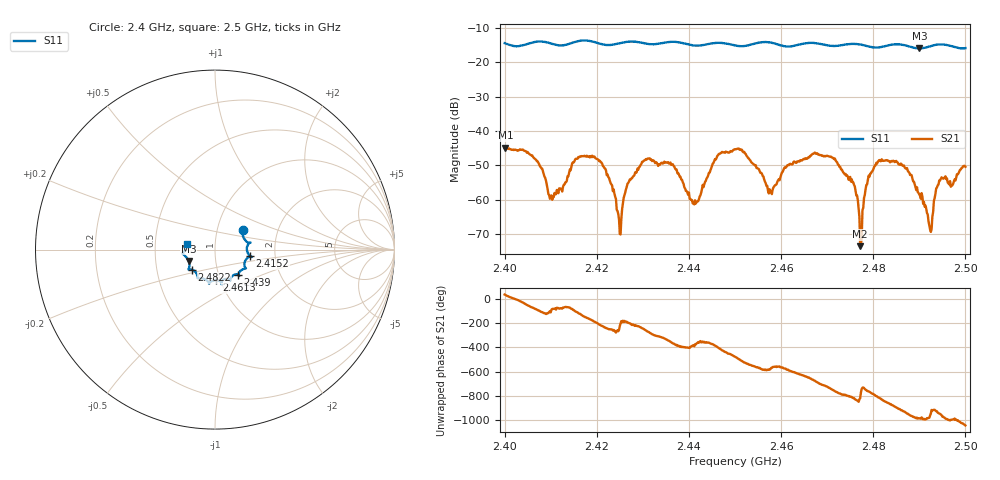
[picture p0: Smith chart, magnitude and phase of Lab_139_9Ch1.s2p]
# Hz S RI R 50
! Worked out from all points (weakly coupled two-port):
!   601 points, 2.4 GHz to 2.5 GHz, reference 50 ohm
!   highest |S21| = -44.81 dB at 2.4002 GHz (marker M1); lowest = -73.5 dB at 2.4772 GHz (marker M2)
!   lowest |S11| = -15.9 dB at 2.49 GHz (marker M3), VSWR 1.38, Z = 36.9 - j4.82 ohm
!   |S11| at or under -10 dB: start of sweep to end of sweep
!   S12 and S22 are empty: the file has one direction only
!   S11 on the Smith chart (normalised r, x): 2.4 GHz: 1.33, +0.31; 2.4152 GHz: 1.48, -0.11; 2.439 GHz: 1.24, -0.36; 2.4613 GHz: 0.96, -0.34; 2.4822 GHz: 0.76, -0.17; 2.5 GHz: 0.73, +0.05
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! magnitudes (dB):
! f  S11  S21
! 2.4 GHz  -14.4  -45.0
! 2.4002 GHz  -14.5  -44.8
! 2.4102 GHz  -14.5  -58.7
! 2.4152 GHz  -14.1  -48.7
! 2.4167 GHz  -13.6  -47.3
! 2.4215 GHz  -14.8  -50.3
! 2.4248 GHz  -14.4  -65.8
! 2.4333 GHz  -14.5  -50.1
! 2.439 GHz  -14.5  -56.3
! 2.4417 GHz  -15.1  -60.7
! 2.45 GHz  -15.0  -45.2
! 2.4577 GHz  -14.2  -57.4
! 2.4613 GHz  -15.3  -50.0
! 2.4667 GHz  -14.3  -46.8
! 2.4753 GHz  -14.6  -54.0
! 2.4772 GHz  -14.8  -73.5
! 2.4822 GHz  -15.4  -48.7
! 2.4833 GHz  -15.0  -48.6
! 2.49 GHz  -15.9  -58.4
! 2.4925 GHz  -15.2  -69.4
! 2.4945 GHz  -14.7  -54.3
! 2.5 GHz  -15.8  -50.4
